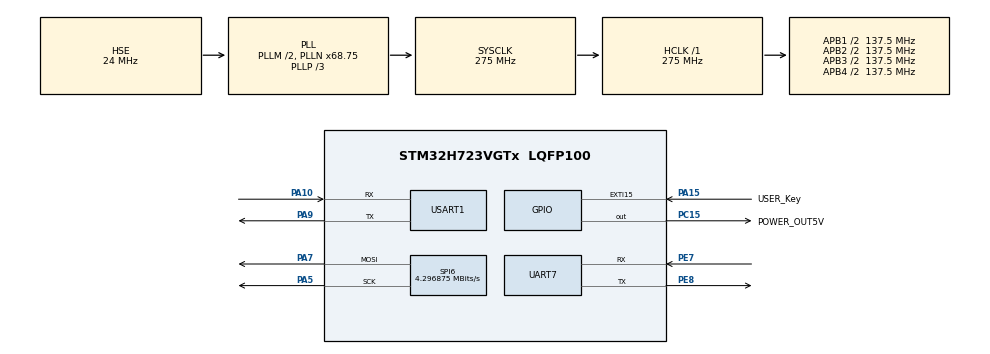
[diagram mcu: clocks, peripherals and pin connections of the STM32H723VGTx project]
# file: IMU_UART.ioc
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CORTEX_M7.default_mode_Activation=1
Mcu.Family=STM32H7
Mcu.Name=STM32H723VGTx
Mcu.Package=LQFP100
NVIC.EXTI15_10_IRQn=true\:14\:0\:true\:false\:true\:true\:true\:true
NVIC.PriorityGroup=NVIC_PRIORITYGROUP_4
PA10.Mode=Asynchronous
PA10.Signal=USART1_RX
PA13(JTMS/SWDIO).Mode=Serial_Wire
PA13(JTMS/SWDIO).Signal=DEBUG_JTMS-SWDIO
PA14(JTCK/SWCLK).Mode=Serial_Wire
PA14(JTCK/SWCLK).Signal=DEBUG_JTCK-SWCLK
PA15(JTDI).GPIO_Label=USER_Key
PA15(JTDI).GPIO_ModeDefaultEXTI=GPIO_MODE_IT_FALLING
PA15(JTDI).Signal=GPXTI15
PA5.Mode=TX_Only_Simplex_Unidirect_Master
PA5.Signal=SPI6_SCK
PA7.Mode=TX_Only_Simplex_Unidirect_Master
PA7.Signal=SPI6_MOSI
PA9.Mode=Asynchronous
PA9.Signal=USART1_TX
PC15-OSC32_OUT.GPIO_Label=POWER_OUT5V
PC15-OSC32_OUT.GPIO_ModeDefaultOutputPP=GPIO_MODE_OUTPUT_PP
PC15-OSC32_OUT.PinState=GPIO_PIN_SET
PC15-OSC32_OUT.Signal=GPIO_Output
PE7.Mode=Asynchronous
PE7.Signal=UART7_RX
PE8.Mode=Asynchronous
PE8.Signal=UART7_TX
PH0-OSC_IN.Mode=HSE-External-Oscillator
PH0-OSC_IN.Signal=RCC_OSC_IN
PH1-OSC_OUT.Mode=HSE-External-Oscillator
PH1-OSC_OUT.Signal=RCC_OSC_OUT
ProjectManager.HeapSize=0x200
ProjectManager.StackSize=0x400
ProjectManager.TargetToolchain=MDK-ARM V5.32
RCC.ADCFreq_Value=48375000
RCC.APB1Freq_Value=137500000
RCC.APB2Freq_Value=137500000
RCC.APB3Freq_Value=137500000
RCC.APB4Freq_Value=137500000
RCC.CortexFreq_Value=275000000
RCC.D1PPRE=RCC_APB3_DIV2
RCC.D2PPRE1=RCC_APB1_DIV2
RCC.D2PPRE2=RCC_APB2_DIV2
RCC.D3PPRE=RCC_APB4_DIV2
RCC.DIVM1=2
RCC.DIVN1=68
RCC.DIVP1=3
RCC.HCLKFreq_Value=275000000
RCC.HSE_VALUE=24000000
RCC.PLL2FRACN=0
RCC.PLL3FRACN=0
RCC.PLLFRACN=6144
RCC.PLLSourceVirtual=RCC_PLLSOURCE_HSE
RCC.SYSCLKFreq_VALUE=275000000
RCC.SYSCLKSource=RCC_SYSCLKSOURCE_PLLCLK
RCC.USBFreq_Value=412500000
SPI6.BaudRatePrescaler=SPI_BAUDRATEPRESCALER_32
SPI6.CalculateBaudRate=4.296875 MBits/s
SPI6.DataSize=SPI_DATASIZE_8BIT
SPI6.Direction=SPI_DIRECTION_2LINES_TXONLY
SPI6.Mode=SPI_MODE_MASTER
SPI6.VirtualType=VM_MASTER
USART1.VirtualMode-Asynchronous=VM_ASYNC
VP_MEMORYMAP_VS_MEMORYMAP.Mode=CurAppReg
board=custom

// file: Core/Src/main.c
/* USER CODE BEGIN Header */
/**
  ******************************************************************************
  * @file           : main.c
  * @brief          : Main program body
  ******************************************************************************
  * @attention
  *
  * Copyright (c) 2026 STMicroelectronics.
  * All rights reserved.
  *
  * This software is licensed under terms that can be found in the LICENSE file
  * in the root directory of this software component.
  * If no LICENSE file comes with this software, it is provided AS-IS.
  *
  ******************************************************************************
  */
/* USER CODE END Header */
#include "main.h"
#include "spi.h"
#include "usart.h"
#include "gpio.h"

/* USER CODE BEGIN Includes */
#include "stdbool.h"
#include "ws2812.h"
#include "adis16470.h"
/* USER CODE END Includes */

/* USER CODE BEGIN PD */
#define USER_KEY_DEBOUNCE_MS 50U

/* USER CODE END PD */

/* USER CODE BEGIN PV */
bool adis16470_status = false;
volatile bool user_key_event = false;
/* USER CODE END PV */

void SystemClock_Config(void);

int main(void)
{

  /* MCU Configuration--------------------------------------------------------*/

  /* Reset of all peripherals, Initializes the Flash interface and the Systick. */
  HAL_Init();

  /* Configure the system clock */
  SystemClock_Config();

  /* Initialize all configured peripherals */
  MX_GPIO_Init();
  MX_SPI6_Init();
  MX_UART7_Init();
  MX_USART1_UART_Init();
  /* USER CODE BEGIN 2 */
  HAL_GPIO_WritePin(GPIOC, GPIO_PIN_15, GPIO_PIN_SET);
  ADIS16470_Init();
  WS2812_Ctrl(0, 0, 64);
  /* USER CODE END 2 */

  /* Infinite loop */
  while (1)
  {

    /* USER CODE BEGIN 3 */
    if (user_key_event)
    {
      __disable_irq();
      user_key_event = false;
      __enable_irq();

      adis16470_status = !adis16470_status;
      if (adis16470_status)
      {
        WS2812_Ctrl(128, 0, 0);
        ADIS16470_Start();
      }
      else
      {
        WS2812_Ctrl(0, 0, 0);
        ADIS16470_Stop();
      }
    }
    ADIS16470_ProcessReceivedData();
  }
  /* USER CODE END 3 */
}

void SystemClock_Config(void)
{
  RCC_OscInitTypeDef RCC_OscInitStruct = {0};
  RCC_ClkInitTypeDef RCC_ClkInitStruct = {0};

  /** Supply configuration update enable
  */
  HAL_PWREx_ConfigSupply(PWR_LDO_SUPPLY);

  /** Configure the main internal regulator output voltage
  */
  __HAL_PWR_VOLTAGESCALING_CONFIG(PWR_REGULATOR_VOLTAGE_SCALE0);

  while(!__HAL_PWR_GET_FLAG(PWR_FLAG_VOSRDY)) {}

  /** Initializes the RCC Oscillators according to the specified parameters
  * in the RCC_OscInitTypeDef structure.
  */
  RCC_OscInitStruct.OscillatorType = RCC_OSCILLATORTYPE_HSE;
  RCC_OscInitStruct.HSEState = RCC_HSE_ON;
  RCC_OscInitStruct.PLL.PLLState = RCC_PLL_ON;
  RCC_OscInitStruct.PLL.PLLSource = RCC_PLLSOURCE_HSE;
  RCC_OscInitStruct.PLL.PLLM = 2;
  RCC_OscInitStruct.PLL.PLLN = 68;
  RCC_OscInitStruct.PLL.PLLP = 3;
  RCC_OscInitStruct.PLL.PLLQ = 2;
  RCC_OscInitStruct.PLL.PLLR = 2;
  RCC_OscInitStruct.PLL.PLLRGE = RCC_PLL1VCIRANGE_3;
  RCC_OscInitStruct.PLL.PLLVCOSEL = RCC_PLL1VCOWIDE;
  RCC_OscInitStruct.PLL.PLLFRACN = 6144;
  if (HAL_RCC_OscConfig(&RCC_OscInitStruct) != HAL_OK)
  {
    Error_Handler();
  }

  /** Initializes the CPU, AHB and APB buses clocks
  */
  RCC_ClkInitStruct.ClockType = RCC_CLOCKTYPE_HCLK|RCC_CLOCKTYPE_SYSCLK
                              |RCC_CLOCKTYPE_PCLK1|RCC_CLOCKTYPE_PCLK2
                              |RCC_CLOCKTYPE_D3PCLK1|RCC_CLOCKTYPE_D1PCLK1;
  RCC_ClkInitStruct.SYSCLKSource = RCC_SYSCLKSOURCE_PLLCLK;
  RCC_ClkInitStruct.SYSCLKDivider = RCC_SYSCLK_DIV1;
  RCC_ClkInitStruct.AHBCLKDivider = RCC_HCLK_DIV1;
  RCC_ClkInitStruct.APB3CLKDivider = RCC_APB3_DIV2;
  RCC_ClkInitStruct.APB1CLKDivider = RCC_APB1_DIV2;
  RCC_ClkInitStruct.APB2CLKDivider = RCC_APB2_DIV2;
  RCC_ClkInitStruct.APB4CLKDivider = RCC_APB4_DIV2;

  if (HAL_RCC_ClockConfig(&RCC_ClkInitStruct, FLASH_LATENCY_3) != HAL_OK)
  {
    Error_Handler();
  }
}

/* USER CODE BEGIN 4 */
void HAL_GPIO_EXTI_Callback(uint16_t GPIO_Pin)
{
    if (GPIO_Pin == USER_Key_Pin)
    {
      static uint32_t last_key_tick = 0U;
      uint32_t now = HAL_GetTick();

      if ((now - last_key_tick) < USER_KEY_DEBOUNCE_MS)
      {
        return;
      }
      last_key_tick = now;

      user_key_event = true;
    }

}
/* USER CODE END 4 */

void Error_Handler(void)
{
  __disable_irq();
  while (1)
  {
  }
}
